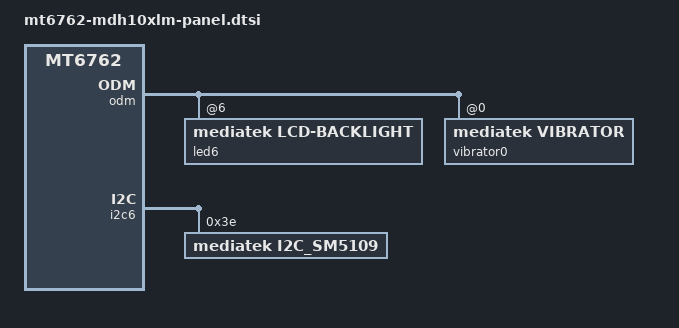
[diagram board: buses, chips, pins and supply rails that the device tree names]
/*
 * LG Electronics MT6765 HDK panel device tree source
 *
 * Copyright (c) 2018 LG Electronics Co., Ltd.
 *              http://www.lge.com
 *
 */

&odm {
	led0:led@0 {
		status = "disabled";
	};
	led1:led@1 {
		status = "disabled";
	};
	led2:led@2 {
		status = "disabled";
	};
	led3:led@3 {
		status = "disabled";
	};
	led4:led@4 {
		status = "disabled";
	};
	led5:led@5 {
		status = "disabled";
	};
	led6:led@6 {
		compatible = "mediatek,lcd-backlight";
		led_mode = <5>;
		data = <1>;
		pwm_config = <0 14 0 0 0>;
		lge.blmap-size = <256>;
		lge.blmap = <
			7 7 7 7 7 7 7 7 7 7 7 7 7 7 7 7
			7 8 8 8 8 8 8 8 9 9 9 10 10 10 11 11
			11 12 12 13 13 13 14 15 15 16 17 17 18 19 19 21
			22 23 24 26 27 28 29 31 32 33 35 35 36 37 39 40
			41 43 44 46 47 48 50 51 53 54 56 58 60 62 64 65
			67 69 71 73 75 77 79 81 83 85 87 90 92 94 96 98
			100 103 105 108 111 114 117 120 123 126 129 132 135 137 140 143
			146 148 151 154 157 159 162 165 168 171 175 179 183 187 191 195
			199 203 207 211 215 220 223 227 231 235 239 243 247 251 255 259
			263 267 271 275 279 283 287 291 295 299 303 307 311 315 320 325
			331 336 341 347 352 358 363 368 374 379 385 390 396 401 407 413
			418 424 429 435 441 446 452 458 465 472 479 486 493 500 507 514
			521 528 535 540 545 551 556 561 567 572 578 583 588 594 599 605
			614 623 632 641 650 660 669 678 687 696 705 715 721 728 734 741
			747 754 760 767 773 780 786 793 800 807 815 823 830 838 846 853
			861 869 876 884 892 900 911 923 935 947 958 970 982 994 1005 1017
		>;
		lge.blmap_2nd = <
			7 7 7 7 7 7 7 7 7 7 7 8 8 9 9 10
			11 11 12 12 13 14 14 15 15 16 17 17 18 18 19 20
			20 21 21 22 23 23 24 24 25 26 26 27 27 28 29 29
			30 30 31 32 32 33 33 34 35 35 36 36 37 39 41 43
			45 47 49 51 54 56 58 60 62 64 66 68 70 72 74 76
			78 80 82 84 87 89 91 93 95 97 99 101 103 105 107 109
			111 113 115 117 120 122 124 126 128 130 132 134 136 140 143 147
			151 155 158 162 166 170 173 177 181 185 188 192 196 199 203 207
			211 214 218 222 226 229 233 237 241 244 248 252 256 259 263 267
			270 274 278 282 285 289 293 297 300 304 308 312 315 319 324 329
			333 338 344 351 356 362 367 372 378 383 389 394 399 405 410 415
			421 426 431 437 441 443 445 450 460 469 474 479 485 490 495 501
			506 511 517 522 528 533 538 544 549 554 560 565 570 576 581 589
			598 606 614 622 631 639 647 655 664 672 680 688 697 705 713 722
			730 738 746 755 763 771 779 788 796 804 812 821 829 837 845 854
			862 870 879 887 895 903 912 920 928 936 945 953 961 969 978 986
		>;
		lge.pwm_max_brightness = <215>;
	};
	vibrator0:vibrator@0 {
		compatible = "mediatek,vibrator";
		vib_timer = <25>;
		vib_limit = <9>;
		vib_vol= <11>;
	};
};

&i2c6 {
	i2c_sm5109@3e {
		compatible = "mediatek,i2c_sm5109";
		reg = <0x3e>;
		status = "okay";
		vpos = <5800>;
		vneg = <5800>;
		apps = <1>;
		active_discharge = <3>;
	};
};

&mtkfb {
	compatible = "mediatek,mtkfb";
	/* touch-reset-gpio = <&pio 164 0x00>; */
	pinctrl-names = "default",
			"lcm_rst_out0_gpio", "lcm_rst_out1_gpio",
			"lcm_ldo_out0_gpio", "lcm_ldo_out1_gpio",
			"lcd_bias_enp0_gpio", "lcd_bias_enp1_gpio",
			"lcd_bias_enn0_gpio", "lcd_bias_enn1_gpio";
	pinctrl-0 = <&disp_pins_default>;
	pinctrl-1 = <&disp_pins_lcm_rst0>;
	pinctrl-2 = <&disp_pins_lcm_rst1>;
	pinctrl-3 = <&disp_pins_lcd_ldo_en0>;
	pinctrl-4 = <&disp_pins_lcd_ldo_en1>;
	pinctrl-5 = <&disp_pins_vpos_en0>;
	pinctrl-6 = <&disp_pins_vpos_en1>;
	pinctrl-7 = <&disp_pins_vneg_en0>;
	pinctrl-8 = <&disp_pins_vneg_en1>;
};

&pio {
	disp_pins_default: disp_pins_default {
	};
	disp_pins_lcm_rst0: lcm_rst_out0_gpio {
		pins_cmd_dat {
			pinmux = <PINMUX_GPIO45__FUNC_GPIO45>;
			slew-rate = <1>;
			output-low;
		};
	};

	disp_pins_lcm_rst1: lcm_rst_out1_gpio {
		pins_cmd_dat {
			pinmux = <PINMUX_GPIO45__FUNC_GPIO45>;
			slew-rate = <1>;
			output-high;
		};
	};

	disp_pins_vpos_en0: lcd_bias_enp0_gpio {
		pins_cmd_dat {
			pinmux = <PINMUX_GPIO16__FUNC_GPIO16>;
			slew-rate = <1>;
			output-low;
		};
	};

	disp_pins_vpos_en1: lcd_bias_enp1_gpio {
		pins_cmd_dat {
			pinmux = <PINMUX_GPIO16__FUNC_GPIO16>;
			slew-rate = <1>;
			output-high;
		};
	};

	disp_pins_vneg_en0: lcd_bias_enn0_gpio {
		pins_cmd_dat {
			pinmux = <PINMUX_GPIO14__FUNC_GPIO14>;
			slew-rate = <1>;
			output-low;
		};
	};

	disp_pins_vneg_en1: lcd_bias_enn1_gpio {
		pins_cmd_dat {
			pinmux = <PINMUX_GPIO14__FUNC_GPIO14>;
			slew-rate = <1>;
			output-high;
		};
	};

	disp_pins_lcd_ldo_en0: lcm_ldo_out0_gpio {
		pins_cmd_dat {
			pinmux = <PINMUX_GPIO42__FUNC_GPIO42>;
			slew-rate = <1>;
			output-low;
		};
	};

	disp_pins_lcd_ldo_en1: lcm_ldo_out1_gpio {
		pins_cmd_dat {
			pinmux = <PINMUX_GPIO42__FUNC_GPIO42>;
			slew-rate = <1>;
			output-high;
		};
	};
};

&mt6370_pmu {
	bled {
		/* mt,ext_en_pin; */
		mt,chan_en  = <0xf>; /* bit 0 1 2 3 -> chan 1 2 3 4 */
		mt,map_linear;
		mt,bl_ovp_level = <3>;	/* 0: 17v */
					/* 1: 21v */
					/* 2: 25v */
					/* 3: 29v */
		mt,bl_ocp_level = <2>;	/* 0: 900mA */
					/* 1: 1200mA */
					/* 2: 1500mA */
					/* 3: 1800mA */
		mt,use_pwm;
		mt,pwm_fsample = <2>;	/* 0: 1MHz */
					/* 1: 4MHz */
					/* 2: or 3: 24mHz */
		mt,pwm_deglitch = <1>;	/* 0: no filter */
					/* 1: 100ns */
					/* 2: 160ns */
					/* 3: 200ns */
		mt,pwm_avg_cycle = <0>; /* 0: disable avg */
					/* 1: avg 2 cycle */
					/* 2: avg 4 cycle */
					/* 3: avg 8 cycle */
					/* 4: avg 16 cycle */
					/* 5: avg 32 cycle */
		mt,bled_ramptime = <3>; /* 0, 500us, 750us, 1ms, 2ms */
					/* 5ms, 10ms, 20ms, 50ms */
					/* 100ms, 250ms, 800ms */
					/* 1s, 2s, 4s, 8s */
		mt,bled_flash_ramp = <1>;	/* 0, 500us, 750us */
						/* 1ms, 2ms, 5ms */

		/* we have 11 bit resolution, quantize in driver */
		mt,max_bled_brightness = <1023>; /* maximum 2047 */
	};
	dsv {
		db_ext_en = <0>;  /* 0 = i2c ctrl; 1 = ext pin */

		/* 1 = prevent from voltage drop when db is restart */
		db_periodic_fix = <0>;

		/* 0 : VOS & VNEG are ctrled by DB_ENP & DB_ENN*/
		/* 1 : single pin ctrl*/
		db_single_pin = <0>;

		/* 0 = 20Hz */
		/* 1 = 33Hz; valid if db_period_mode = 1 */
		db_freq_pm = <0>;

		/* 0 = always on if DB is enabled */
		/* 1 = DB period mode */
		db_periodic_mode = <0>;

		/* 0 = close loop, wait 80% */
		/* 1 = open loop, go after soft-start dimming */
		db_startup = <0>;

		/* 1 = DB VNEG discharge 20ms when shutdown */
		/* 0 = disable */
		db_vneg_20ms = <0>;

		/* 1 = Discharge VNEG when turn off */
		/* 0 = disable */
		db_vneg_disc = <0>;

		/* 1 = DB VPOS discharge 20ms when shutdown */
		/* 0 = disable */
		db_vpos_20ms = <0>;

		/* 1 = Discharge VPOS when turn off */
		/* 0 = disable */
		db_vpos_disc = <0>;

		db_delay = <3>;	/* 0 = no constraint */
				/* 1 = 0 ms */
				/* 2 = 1 ms */
				/* 3 = 4 ms */
		db_vbst  = <5700>;      /* mV */
		db_vpos_slew = <1>;	/* 0: 8.46 V/ms */
					/* 1: 5.79 V/ms */
					/* 2: 3.87 V/ms */
					/* 3: 2.97 V/ms */
		db_vneg_slew = <1>;	/* 0: -9.24V/ms */
					/* 1: -5.97V/ms */
					/* 2: -4.82V/ms */
					/* 3: -3.07V/ms */
		mt6370_dsvp {
			/* change name by yourself */
			regulator-name = "dsv_pos";

			regulator-min-microvolt = <4000000>;

			/* max == min then apply_uV = 1 */
			regulator-max-microvolt = <6000000>;

			/* optional*/
			/* regulator-microvolt-offset = <0>; */

			/* optional, exist = enabled */
			/* regulator-boot-on = "yes"; */

			/* optional, exist = enabled */
			/* regulator-always-on = "yes"; */

			/* optional */
			/* regulator-ramp-delay = <100>; */
		};
		mt6370_dsvn {
			/* change name by yourself */
			regulator-name = "dsv_neg";

			regulator-min-microvolt = <4000000>;

			/* max == min then apply_uV = 1 */
			regulator-max-microvolt = <6000000>;

			/* optional*/
			/* regulator-microvolt-offset = <0> */

			/* optional, exist = enabled */
			/* regulator-boot-on = "yes"; */

			/* optional, exist = enabled */
			/* regulator-always-on = "yes"; */

			/* regulator-ramp-delay = <100>; */
		};
	};
};
